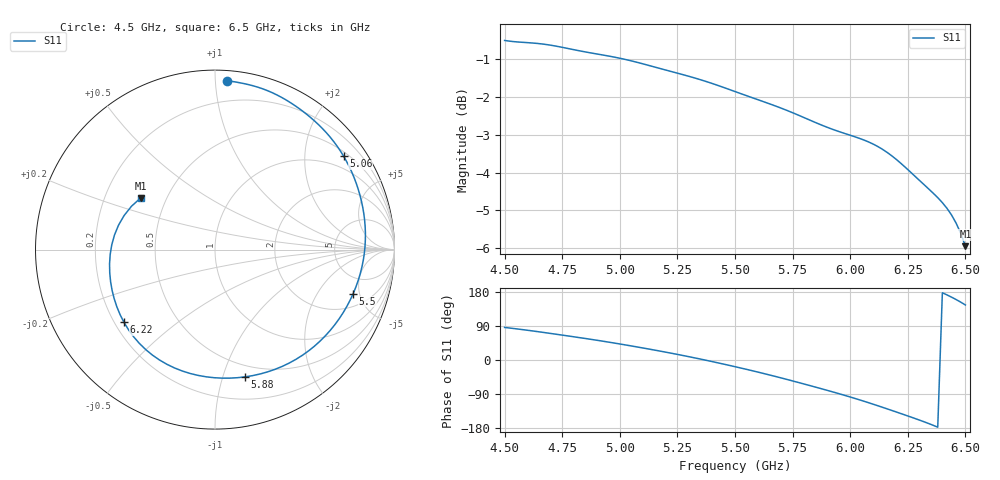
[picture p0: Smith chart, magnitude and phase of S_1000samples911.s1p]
! TOUCHSTONE file generated by CST MICROWAVE STUDIO
! Date and time: Sat Oct 29 18:47:46 2022
! Project name: L.cst
! Parameters = {Di=1.27; Epsilon_r=1.56; InnerDiameter=1.27; Length=2; Lf=10; Lg=60; OuterConductorThickness=0.2921; OuterDiameter=3.6; Wf=3; Wp=41.2; de=1.5; df=6.8; g=0.8; gx=3.0335; gy=2.79223; h=2.34; hf=1.524; px=10.4781; py=12.6999; w=9.7; wx=7.44461; wy=9.90769}
! Header version: 2018
! Port assignment regex: !\s*Touchstone port\s*([0-9]+)\s*=\s*(CST MWS port|CST DS port)\s*([0-9]+|Zmin|Zmax)\s*\(\"(.*)\"\)(\s*mode\s*([0-9]+))?.*
! Touchstone port assignment:
! Touchstone port 1 = CST MWS port 1 ("")
# GHz S DB R 50
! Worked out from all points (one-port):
!   101 points, 4.5 GHz to 6.5 GHz, reference 50 ohm
!   lowest |S11| = -5.9 dB at 6.5 GHz (marker M1), VSWR 3.03, Z = 17.9 + j13.8 ohm
!   |S11| at or under -10 dB: nowhere
!   S11 on the Smith chart (normalised r, x): 4.5 GHz: 0.06, +1.07; 5.06 GHz: 0.61, +2.96; 5.5 GHz: 3.07, -4.34; 5.88 GHz: 0.39, -1.19; 6.22 GHz: 0.24, -0.33; 6.5 GHz: 0.36, +0.28
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4.5  -0.50 86.0
4.64  -0.58 75.2
4.76  -0.69 64.8
4.88  -0.83 54.0
5  -0.97 42.3
5.06  -1.05 36.0
5.16  -1.22 25.1
5.26  -1.38 13.6
5.38  -1.60 -1.5
5.44  -1.72 -9.4
5.5  -1.85 -17.6
5.62  -2.11 -35.0
5.7  -2.29 -47.3
5.76  -2.44 -56.9
5.82  -2.60 -66.7
5.88  -2.75 -76.7
5.94  -2.89 -86.9
6  -3.01 -97.6
6.06  -3.14 -108.9
6.1  -3.24 -116.7
6.16  -3.46 -128.9
6.22  -3.75 -141.3
6.26  -3.97 -149.8
6.34  -4.43 -167.5
6.4  -4.79 177.4
6.44  -5.12 165.8
6.46  -5.34 159.4
6.5  -5.95 145.2
